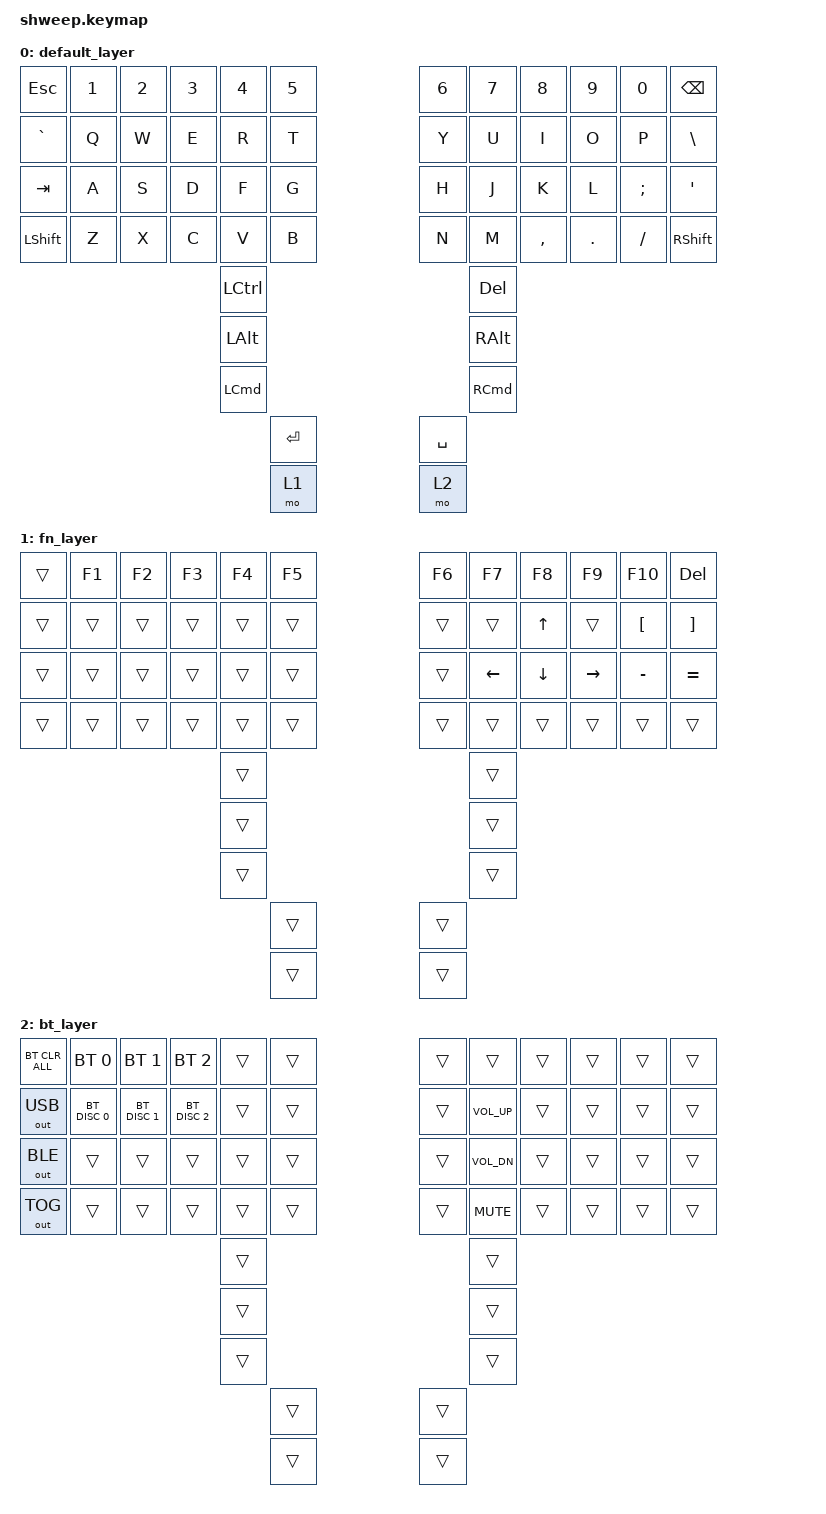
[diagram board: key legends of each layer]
#include <behaviors.dtsi>
#include <dt-bindings/zmk/keys.h>
#include <dt-bindings/zmk/bt.h>
#include <dt-bindings/zmk/outputs.h>

/ {
    keymap {
        compatible = "zmk,keymap";

        default_layer {
// --------------------------------------------------------------------------------------------------------------------------------------------------------------------
// |   ESC   |    1    |    2    |    3    |    4    |    5    |                                          |    6    |    7    |    8    |    9    |    0    |  BCKSPC |
// |    ~`   |    Q    |    W    |    E    |    R    |    T    |                                          |    Y    |    U    |    I    |    O    |    P    |    \    |
// |   TAB   |    A    |    S    |    D    |    F    |    G    |                                          |    H    |    J    |    K    |    L    |    ;    |    '    |
// |  SHIFT  |    Z    |    X    |    C    |    V    |    B    |                                          |    N    |    M    |    ,    |    .    |    /    |  SHIFT  |
//                               |  L CTL  |  L ALT  |  L CMD  |  SPACE  |   L1    |  |    L2   |   TAB   | RETURN  |   BSPC  |  R ALT  |
            bindings = <
    &kp ESC    &kp N1   &kp N2   &kp N3    &kp N4    &kp N5                         &kp N6    &kp N7    &kp N8    &kp N9    &kp N0   &kp BACKSPACE
    &kp GRAVE  &kp Q    &kp W    &kp E     &kp R     &kp T                          &kp Y     &kp U     &kp I     &kp O     &kp P    &kp BSLH
    &kp TAB    &kp A    &kp S    &kp D     &kp F     &kp G                          &kp H     &kp J     &kp K     &kp L     &kp SEMI &kp SQT
    &kp LSHIFT &kp Z    &kp X    &kp C     &kp V     &kp B                          &kp N     &kp M     &kp COMMA &kp DOT   &kp FSLH &kp RSHIFT
                                           &kp LEFT_CONTROL                                   &kp DELETE
					                         &kp LEFT_ALT                                   &kp RIGHT_ALT 
					                           &kp LEFT_COMMAND                           &kp RIGHT_COMMAND   
						                         &kp RET                                &kp SPACE 
							                       &mo 1                              &mo 2
            >;
        };

        fn_layer {
// --------------------------------------------------------------------------------------------------------------------------------------------------------------------
// |         |   F1    |   F2    |   F3    |   F4    |   F5    |                                          |   F6    |   F7    |   F8    |   F9    |   F10   |   DEL   |
// |         |         |         |         |         |         |                                          |         |         |   UP    |         |    {    |    }    |
// |         |         |         |         |         |         |                                          |         |  LEFT   |  DOWN   |  RIGHT  |    -    |    +    |
// |         |         |         |         |         |         |                                          |         |         |         |         |         |         |
//                               |         |         |         |         |         |  |         |         |         |         |         |
        bindings = <
    &trans   &kp F1   &kp F2   &kp F3   &kp F4   &kp F5                         &kp F6   &kp F7    &kp F8    &kp F9    &kp F10   &kp DELETE 
    &trans   &trans   &trans   &trans   &trans   &trans                         &trans   &trans    &kp UP    &trans    &kp LBKT  &kp RBKT
    &trans   &trans   &trans   &trans   &trans   &trans                         &trans   &kp LEFT  &kp DOWN  &kp RIGHT &kp MINUS &kp EQUAL
    &trans   &trans   &trans   &trans   &trans   &trans                         &trans   &trans    &trans    &trans    &trans    &trans
                                        &trans                                           &trans
					                      &trans                                       &trans
					                        &trans                                   &trans
						                      &trans                               &trans  
							                    &trans                           &trans
            >;
        };

        bt_layer {
// --------------------------------------------------------------------------------------------------------------------------------------------------------------------
// |  BT CLR | BT C 0  | BT C 1  | BT C 2  |         |         |                                          |         |         |         |         |         |         |
// | OUT_USB | BT D 0  | BT D 1  | BT D 2  |         |         |                                          |         |  VOL_UP |         |         |         |         |
// | OUT_BLE |         |         |         |         |         |                                          |         |  VOL_DN |         |         |         |         |
// | OUT_TOG |         |         |         |         |         |                                          |         |   MUTE  |         |         |         |         |
//                               |         |         |         |         |         |  |         |         |         |         |         |
        bindings = <
    &bt BT_CLR_ALL  &bt BT_SEL 0   &bt BT_SEL 1   &bt BT_SEL 2    &trans   &trans                          &trans   &trans        &trans   &trans   &trans   &trans
    &out OUT_USB    &bt BT_DISC 0  &bt BT_DISC 1  &bt BT_DISC 2   &trans   &trans                          &trans   &kp C_VOL_UP  &trans   &trans   &trans   &trans
    &out OUT_BLE    &trans         &trans         &trans          &trans   &trans                          &trans   &kp C_VOL_DN  &trans   &trans   &trans   &trans
    &out OUT_TOG    &trans         &trans         &trans          &trans   &trans                          &trans   &kp C_MUTE    &trans   &trans   &trans   &trans
                                              &trans                                                            &trans
					                            &trans                                                        &trans
					                              &trans                                                    &trans
						                            &trans                                                &trans
							                          &trans                                            &trans
            >;
        };
    };
};
